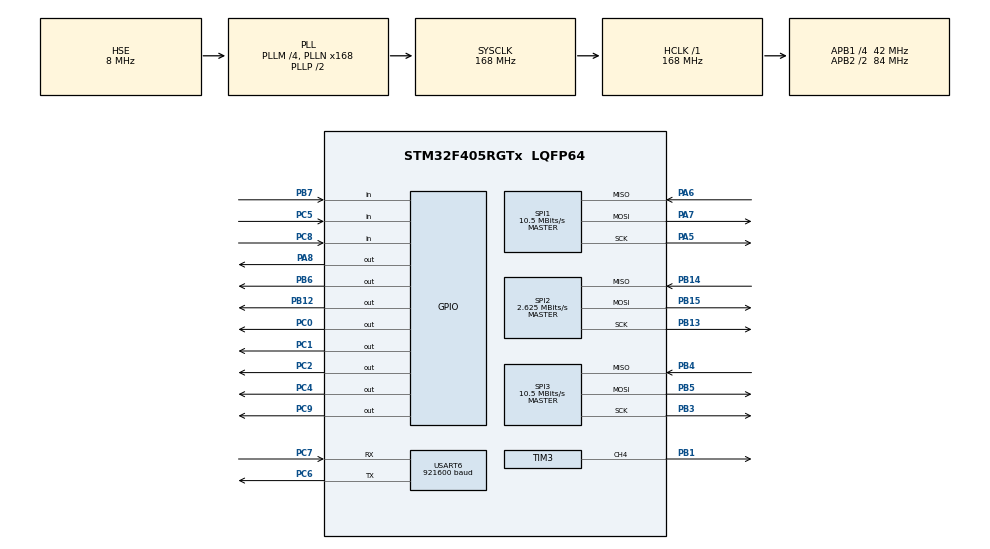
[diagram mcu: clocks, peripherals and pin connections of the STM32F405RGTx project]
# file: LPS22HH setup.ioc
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Mcu.Family=STM32F4
Mcu.Name=STM32F405RGTx
Mcu.Package=LQFP64
NVIC.PriorityGroup=NVIC_PRIORITYGROUP_4
NVIC.USART6_IRQn=true\:0\:0\:false\:false\:true\:true\:true\:true
PA5.Mode=Full_Duplex_Master
PA5.Signal=SPI1_SCK
PA6.Mode=Full_Duplex_Master
PA6.Signal=SPI1_MISO
PA7.Mode=Full_Duplex_Master
PA7.Signal=SPI1_MOSI
PA8.Signal=GPIO_Output
PB1.Signal=S_TIM3_CH4
PB12.Signal=GPIO_Output
PB13.Mode=Full_Duplex_Master
PB13.Signal=SPI2_SCK
PB14.Mode=Full_Duplex_Master
PB14.Signal=SPI2_MISO
PB15.Mode=Full_Duplex_Master
PB15.Signal=SPI2_MOSI
PB3.Mode=Full_Duplex_Master
PB3.Signal=SPI3_SCK
PB4.Mode=Full_Duplex_Master
PB4.Signal=SPI3_MISO
PB5.Mode=Full_Duplex_Master
PB5.Signal=SPI3_MOSI
PB6.Signal=GPIO_Output
PB7.Signal=GPIO_Input
PC0.Signal=GPIO_Output
PC1.Signal=GPIO_Output
PC2.Signal=GPIO_Output
PC4.Signal=GPIO_Output
PC5.Signal=GPIO_Input
PC6.Mode=Asynchronous
PC6.Signal=USART6_TX
PC7.Mode=Asynchronous
PC7.Signal=USART6_RX
PC8.Signal=GPIO_Input
PC9.Signal=GPIO_Output
PH0-OSC_IN.Mode=HSE-External-Oscillator
PH0-OSC_IN.Signal=RCC_OSC_IN
PH1-OSC_OUT.Mode=HSE-External-Oscillator
PH1-OSC_OUT.Signal=RCC_OSC_OUT
ProjectManager.HeapSize=0x200
ProjectManager.StackSize=0x400
ProjectManager.TargetToolchain=STM32CubeIDE
RCC.48MHZClocksFreq_Value=84000000
RCC.AHBFreq_Value=168000000
RCC.APB1CLKDivider=RCC_HCLK_DIV4
RCC.APB1Freq_Value=42000000
RCC.APB1TimFreq_Value=84000000
RCC.APB2CLKDivider=RCC_HCLK_DIV2
RCC.APB2Freq_Value=84000000
RCC.APB2TimFreq_Value=168000000
RCC.CortexFreq_Value=168000000
RCC.HCLKFreq_Value=168000000
RCC.HSE_VALUE=8000000
RCC.HSI_VALUE=16000000
RCC.LSE_VALUE=32768
RCC.PLLM=4
RCC.PLLN=168
RCC.PLLSourceVirtual=RCC_PLLSOURCE_HSE
RCC.SYSCLKFreq_VALUE=168000000
RCC.SYSCLKSource=RCC_SYSCLKSOURCE_PLLCLK
RCC.VCOOutputFreq_Value=336000000
SH.S_TIM3_CH4.0=TIM3_CH4,PWM Generation4 CH4
SPI1.BaudRatePrescaler=SPI_BAUDRATEPRESCALER_8
SPI1.CLKPhase=SPI_PHASE_2EDGE
SPI1.CLKPolarity=SPI_POLARITY_HIGH
SPI1.CalculateBaudRate=10.5 MBits/s
SPI1.DataSize=SPI_DATASIZE_8BIT
SPI1.Direction=SPI_DIRECTION_2LINES
SPI1.Mode=SPI_MODE_MASTER
SPI1.VirtualType=VM_MASTER
SPI2.BaudRatePrescaler=SPI_BAUDRATEPRESCALER_16
SPI2.CLKPhase=SPI_PHASE_2EDGE
SPI2.CLKPolarity=SPI_POLARITY_HIGH
SPI2.CalculateBaudRate=2.625 MBits/s
SPI2.Direction=SPI_DIRECTION_2LINES
SPI2.Mode=SPI_MODE_MASTER
SPI2.VirtualType=VM_MASTER
SPI3.BaudRatePrescaler=SPI_BAUDRATEPRESCALER_4
SPI3.CLKPhase=SPI_PHASE_2EDGE
SPI3.CLKPolarity=SPI_POLARITY_HIGH
SPI3.CalculateBaudRate=10.5 MBits/s
SPI3.Direction=SPI_DIRECTION_2LINES
SPI3.Mode=SPI_MODE_MASTER
SPI3.VirtualType=VM_MASTER
TIM3.AutoReloadPreload=TIM_AUTORELOAD_PRELOAD_ENABLE
TIM3.Channel-PWM\ Generation4\ CH4=TIM_CHANNEL_4
TIM3.OCFastMode_PWM-PWM\ Generation4\ CH4=TIM_OCFAST_ENABLE
TIM3.Period=20
TIM3.Prescaler=999
TIM3.Pulse-PWM\ Generation4\ CH4=10
USART6.BaudRate=921600
USART6.VirtualMode=VM_ASYNC
VP_TIM3_VS_ClockSourceINT.Mode=Internal
board=custom

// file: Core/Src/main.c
/* USER CODE BEGIN Header */
/**
  ******************************************************************************
  * @file           : main.c
  * @brief          : Main program body
  ******************************************************************************
  * @attention
  *
  * Copyright (c) 2025 STMicroelectronics.
  * All rights reserved.
  *
  * This software is licensed under terms that can be found in the LICENSE file
  * in the root directory of this software component.
  * If no LICENSE file comes with this software, it is provided AS-IS.
  *
  ******************************************************************************
  */
/* USER CODE END Header */
#include "main.h"

/* USER CODE BEGIN Includes */
#include "bno080.h"
#include "quaternion.h"
#include "icm20602.h"
#include "LPS22HH.h"
#include <stdio.h>
/* USER CODE END Includes */

/* USER CODE BEGIN PTD */
int _write(int file, char *p, int len)
{
	for (int i = 0; i < len; i ++)
	{
		LL_USART_TransmitData8(USART6, *(p + i));
		HAL_Delay(1);
	}
	return len;
}
/* USER CODE END PTD */

void SystemClock_Config(void);
static void MX_GPIO_Init(void);
static void MX_TIM3_Init(void);
static void MX_USART6_UART_Init(void);
static void MX_SPI2_Init(void);
static void MX_SPI1_Init(void);
static void MX_SPI3_Init(void);

int main(void)
{

  /* USER CODE BEGIN 1 */
  float q[4]; // array to store components of quaternion (x, y, z, w)
  float quatRadianAccuracy;
  /* USER CODE END 1 */

  /* MCU Configuration--------------------------------------------------------*/

  /* Reset of all peripherals, Initializes the Flash interface and the Systick. */
  HAL_Init();

  /* Configure the system clock */
  SystemClock_Config();

  /* Initialize all configured peripherals */
  MX_GPIO_Init();
  MX_TIM3_Init();
  MX_USART6_UART_Init();
  MX_SPI2_Init();
  MX_SPI1_Init();
  MX_SPI3_Init();
  /* USER CODE BEGIN 2 */
  LL_TIM_CC_EnableChannel(TIM3, LL_TIM_CHANNEL_CH4);
  LL_TIM_EnableCounter(TIM3);

  TIM3->PSC = 2000;
  HAL_Delay(100);
  TIM3->PSC = 1500;
  HAL_Delay(100);
  TIM3->PSC = 1000;
  HAL_Delay(100);

  LL_TIM_CC_DisableChannel(TIM3, LL_TIM_CHANNEL_CH4);

  LL_USART_EnableIT_RXNE(USART6);

  // initialize 9-axis sensor for rotation vector
  BNO080_Initialization();
  BNO080_enableRotationVector(2500);

  // initialize 6-axis sensor for angular velocity
  ICM20602_Initialization();

  // initialize barometric sensor for altitude
  LPS22HH_Initialization();
  /* USER CODE END 2 */

  /* Infinite loop */
  while (1)
  {

    /* USER CODE BEGIN 3 */
	/*
	if (BNO080_dataAvailable())
	{
		q[0] = BNO080_getQuatI();
		q[1] = BNO080_getQuatJ();
		q[2] = BNO080_getQuatK();
		q[3] = BNO080_getQuatReal();
		quatRadianAccuracy = BNO080_getQuatRealAccuracy();

		Quaternion_Update(&q[0]);

		printf("R: %d, P: %d, Y: %d\n", (int) (BNO080_Roll * 100), (int) (BNO080_Pitch * 100), (int) (BNO080_Yaw * 100));
	}

	if (ICM20602_DataReady())
	{
		ICM20602_Get3AxisGyroRawData(&ICM20602->gyro_x_raw);

		ICM20602->gyro_x = ICM20602->gyro_x_raw * 2000.f / 32768.f;
		ICM20602->gyro_y = ICM20602->gyro_y_raw * 2000.f / 32768.f;
		ICM20602->gyro_z = ICM20602->gyro_z_raw * 2000.f / 32768.f;

		printf("%d %d %d\n", ICM20602->gyro_x_raw, ICM20602->gyro_y_raw, ICM20602->gyro_z_raw);
		printf("%d %d %d\n", (int)(ICM20602->gyro_x*100), (int)(ICM20602->gyro_y*100), (int)(ICM20602->gyro_z*100));
	}
	*/
	if (LPS22HH_DataReady())
	{
		LPS22HH_GetPressure(&LPS22HH.pressure_raw);
		LPS22HH_GetTemperature(&LPS22HH.temperature_raw);

		LPS22HH.baroAlt = getAltitude2(LPS22HH.pressure_raw/4096.f, LPS22HH.temperature_raw/100.f); // altitude in cms

		printf("barometric pressure: %d\n", (int) (LPS22HH.baroAlt*100));
	}
  }
  /* USER CODE END 3 */
}

void SystemClock_Config(void)
{
  RCC_OscInitTypeDef RCC_OscInitStruct = {0};
  RCC_ClkInitTypeDef RCC_ClkInitStruct = {0};

  /** Configure the main internal regulator output voltage
  */
  __HAL_RCC_PWR_CLK_ENABLE();
  __HAL_PWR_VOLTAGESCALING_CONFIG(PWR_REGULATOR_VOLTAGE_SCALE1);

  /** Initializes the RCC Oscillators according to the specified parameters
  * in the RCC_OscInitTypeDef structure.
  */
  RCC_OscInitStruct.OscillatorType = RCC_OSCILLATORTYPE_HSE;
  RCC_OscInitStruct.HSEState = RCC_HSE_ON;
  RCC_OscInitStruct.PLL.PLLState = RCC_PLL_ON;
  RCC_OscInitStruct.PLL.PLLSource = RCC_PLLSOURCE_HSE;
  RCC_OscInitStruct.PLL.PLLM = 4;
  RCC_OscInitStruct.PLL.PLLN = 168;
  RCC_OscInitStruct.PLL.PLLP = RCC_PLLP_DIV2;
  RCC_OscInitStruct.PLL.PLLQ = 4;
  if (HAL_RCC_OscConfig(&RCC_OscInitStruct) != HAL_OK)
  {
    Error_Handler();
  }

  /** Initializes the CPU, AHB and APB buses clocks
  */
  RCC_ClkInitStruct.ClockType = RCC_CLOCKTYPE_HCLK|RCC_CLOCKTYPE_SYSCLK
                              |RCC_CLOCKTYPE_PCLK1|RCC_CLOCKTYPE_PCLK2;
  RCC_ClkInitStruct.SYSCLKSource = RCC_SYSCLKSOURCE_PLLCLK;
  RCC_ClkInitStruct.AHBCLKDivider = RCC_SYSCLK_DIV1;
  RCC_ClkInitStruct.APB1CLKDivider = RCC_HCLK_DIV4;
  RCC_ClkInitStruct.APB2CLKDivider = RCC_HCLK_DIV2;

  if (HAL_RCC_ClockConfig(&RCC_ClkInitStruct, FLASH_LATENCY_5) != HAL_OK)
  {
    Error_Handler();
  }
}

static void MX_SPI1_Init(void)
{

  LL_SPI_InitTypeDef SPI_InitStruct = {0};

  LL_GPIO_InitTypeDef GPIO_InitStruct = {0};

  /* Peripheral clock enable */
  LL_APB2_GRP1_EnableClock(LL_APB2_GRP1_PERIPH_SPI1);

  LL_AHB1_GRP1_EnableClock(LL_AHB1_GRP1_PERIPH_GPIOA);
  /**SPI1 GPIO Configuration
  PA5   ------> SPI1_SCK
  PA6   ------> SPI1_MISO
  PA7   ------> SPI1_MOSI
  */
  GPIO_InitStruct.Pin = LL_GPIO_PIN_5|LL_GPIO_PIN_6|LL_GPIO_PIN_7;
  GPIO_InitStruct.Mode = LL_GPIO_MODE_ALTERNATE;
  GPIO_InitStruct.Speed = LL_GPIO_SPEED_FREQ_VERY_HIGH;
  GPIO_InitStruct.OutputType = LL_GPIO_OUTPUT_PUSHPULL;
  GPIO_InitStruct.Pull = LL_GPIO_PULL_NO;
  GPIO_InitStruct.Alternate = LL_GPIO_AF_5;
  LL_GPIO_Init(GPIOA, &GPIO_InitStruct);

  /* SPI1 parameter configuration*/
  SPI_InitStruct.TransferDirection = LL_SPI_FULL_DUPLEX;
  SPI_InitStruct.Mode = LL_SPI_MODE_MASTER;
  SPI_InitStruct.DataWidth = LL_SPI_DATAWIDTH_8BIT;
  SPI_InitStruct.ClockPolarity = LL_SPI_POLARITY_HIGH;
  SPI_InitStruct.ClockPhase = LL_SPI_PHASE_2EDGE;
  SPI_InitStruct.NSS = LL_SPI_NSS_SOFT;
  SPI_InitStruct.BaudRate = LL_SPI_BAUDRATEPRESCALER_DIV8;
  SPI_InitStruct.BitOrder = LL_SPI_MSB_FIRST;
  SPI_InitStruct.CRCCalculation = LL_SPI_CRCCALCULATION_DISABLE;
  SPI_InitStruct.CRCPoly = 10;
  LL_SPI_Init(SPI1, &SPI_InitStruct);
  LL_SPI_SetStandard(SPI1, LL_SPI_PROTOCOL_MOTOROLA);

}

static void MX_SPI2_Init(void)
{

  LL_SPI_InitTypeDef SPI_InitStruct = {0};

  LL_GPIO_InitTypeDef GPIO_InitStruct = {0};

  /* Peripheral clock enable */
  LL_APB1_GRP1_EnableClock(LL_APB1_GRP1_PERIPH_SPI2);

  LL_AHB1_GRP1_EnableClock(LL_AHB1_GRP1_PERIPH_GPIOB);
  /**SPI2 GPIO Configuration
  PB13   ------> SPI2_SCK
  PB14   ------> SPI2_MISO
  PB15   ------> SPI2_MOSI
  */
  GPIO_InitStruct.Pin = LL_GPIO_PIN_13|LL_GPIO_PIN_14|LL_GPIO_PIN_15;
  GPIO_InitStruct.Mode = LL_GPIO_MODE_ALTERNATE;
  GPIO_InitStruct.Speed = LL_GPIO_SPEED_FREQ_VERY_HIGH;
  GPIO_InitStruct.OutputType = LL_GPIO_OUTPUT_PUSHPULL;
  GPIO_InitStruct.Pull = LL_GPIO_PULL_NO;
  GPIO_InitStruct.Alternate = LL_GPIO_AF_5;
  LL_GPIO_Init(GPIOB, &GPIO_InitStruct);

  /* SPI2 parameter configuration*/
  SPI_InitStruct.TransferDirection = LL_SPI_FULL_DUPLEX;
  SPI_InitStruct.Mode = LL_SPI_MODE_MASTER;
  SPI_InitStruct.DataWidth = LL_SPI_DATAWIDTH_8BIT;
  SPI_InitStruct.ClockPolarity = LL_SPI_POLARITY_HIGH;
  SPI_InitStruct.ClockPhase = LL_SPI_PHASE_2EDGE;
  SPI_InitStruct.NSS = LL_SPI_NSS_SOFT;
  SPI_InitStruct.BaudRate = LL_SPI_BAUDRATEPRESCALER_DIV16;
  SPI_InitStruct.BitOrder = LL_SPI_MSB_FIRST;
  SPI_InitStruct.CRCCalculation = LL_SPI_CRCCALCULATION_DISABLE;
  SPI_InitStruct.CRCPoly = 10;
  LL_SPI_Init(SPI2, &SPI_InitStruct);
  LL_SPI_SetStandard(SPI2, LL_SPI_PROTOCOL_MOTOROLA);

}

static void MX_SPI3_Init(void)
{

  LL_SPI_InitTypeDef SPI_InitStruct = {0};

  LL_GPIO_InitTypeDef GPIO_InitStruct = {0};

  /* Peripheral clock enable */
  LL_APB1_GRP1_EnableClock(LL_APB1_GRP1_PERIPH_SPI3);

  LL_AHB1_GRP1_EnableClock(LL_AHB1_GRP1_PERIPH_GPIOB);
  /**SPI3 GPIO Configuration
  PB3   ------> SPI3_SCK
  PB4   ------> SPI3_MISO
  PB5   ------> SPI3_MOSI
  */
  GPIO_InitStruct.Pin = LL_GPIO_PIN_3|LL_GPIO_PIN_4|LL_GPIO_PIN_5;
  GPIO_InitStruct.Mode = LL_GPIO_MODE_ALTERNATE;
  GPIO_InitStruct.Speed = LL_GPIO_SPEED_FREQ_VERY_HIGH;
  GPIO_InitStruct.OutputType = LL_GPIO_OUTPUT_PUSHPULL;
  GPIO_InitStruct.Pull = LL_GPIO_PULL_NO;
  GPIO_InitStruct.Alternate = LL_GPIO_AF_6;
  LL_GPIO_Init(GPIOB, &GPIO_InitStruct);

  /* SPI3 parameter configuration*/
  SPI_InitStruct.TransferDirection = LL_SPI_FULL_DUPLEX;
  SPI_InitStruct.Mode = LL_SPI_MODE_MASTER;
  SPI_InitStruct.DataWidth = LL_SPI_DATAWIDTH_8BIT;
  SPI_InitStruct.ClockPolarity = LL_SPI_POLARITY_HIGH;
  SPI_InitStruct.ClockPhase = LL_SPI_PHASE_2EDGE;
  SPI_InitStruct.NSS = LL_SPI_NSS_SOFT;
  SPI_InitStruct.BaudRate = LL_SPI_BAUDRATEPRESCALER_DIV4;
  SPI_InitStruct.BitOrder = LL_SPI_MSB_FIRST;
  SPI_InitStruct.CRCCalculation = LL_SPI_CRCCALCULATION_DISABLE;
  SPI_InitStruct.CRCPoly = 10;
  LL_SPI_Init(SPI3, &SPI_InitStruct);
  LL_SPI_SetStandard(SPI3, LL_SPI_PROTOCOL_MOTOROLA);

}

static void MX_TIM3_Init(void)
{

  LL_TIM_InitTypeDef TIM_InitStruct = {0};
  LL_TIM_OC_InitTypeDef TIM_OC_InitStruct = {0};

  LL_GPIO_InitTypeDef GPIO_InitStruct = {0};

  /* Peripheral clock enable */
  LL_APB1_GRP1_EnableClock(LL_APB1_GRP1_PERIPH_TIM3);

  TIM_InitStruct.Prescaler = 999;
  TIM_InitStruct.CounterMode = LL_TIM_COUNTERMODE_UP;
  TIM_InitStruct.Autoreload = 20;
  TIM_InitStruct.ClockDivision = LL_TIM_CLOCKDIVISION_DIV1;
  LL_TIM_Init(TIM3, &TIM_InitStruct);
  LL_TIM_EnableARRPreload(TIM3);
  LL_TIM_SetClockSource(TIM3, LL_TIM_CLOCKSOURCE_INTERNAL);
  LL_TIM_OC_EnablePreload(TIM3, LL_TIM_CHANNEL_CH4);
  TIM_OC_InitStruct.OCMode = LL_TIM_OCMODE_PWM1;
  TIM_OC_InitStruct.OCState = LL_TIM_OCSTATE_DISABLE;
  TIM_OC_InitStruct.OCNState = LL_TIM_OCSTATE_DISABLE;
  TIM_OC_InitStruct.CompareValue = 10;
  TIM_OC_InitStruct.OCPolarity = LL_TIM_OCPOLARITY_HIGH;
  LL_TIM_OC_Init(TIM3, LL_TIM_CHANNEL_CH4, &TIM_OC_InitStruct);
  LL_TIM_OC_EnableFast(TIM3, LL_TIM_CHANNEL_CH4);
  LL_TIM_SetTriggerOutput(TIM3, LL_TIM_TRGO_RESET);
  LL_TIM_DisableMasterSlaveMode(TIM3);
  LL_AHB1_GRP1_EnableClock(LL_AHB1_GRP1_PERIPH_GPIOB);
  /**TIM3 GPIO Configuration
  PB1   ------> TIM3_CH4
  */
  GPIO_InitStruct.Pin = LL_GPIO_PIN_1;
  GPIO_InitStruct.Mode = LL_GPIO_MODE_ALTERNATE;
  GPIO_InitStruct.Speed = LL_GPIO_SPEED_FREQ_LOW;
  GPIO_InitStruct.OutputType = LL_GPIO_OUTPUT_PUSHPULL;
  GPIO_InitStruct.Pull = LL_GPIO_PULL_NO;
  GPIO_InitStruct.Alternate = LL_GPIO_AF_2;
  LL_GPIO_Init(GPIOB, &GPIO_InitStruct);

}

static void MX_USART6_UART_Init(void)
{

  LL_USART_InitTypeDef USART_InitStruct = {0};

  LL_GPIO_InitTypeDef GPIO_InitStruct = {0};

  /* Peripheral clock enable */
  LL_APB2_GRP1_EnableClock(LL_APB2_GRP1_PERIPH_USART6);

  LL_AHB1_GRP1_EnableClock(LL_AHB1_GRP1_PERIPH_GPIOC);
  /**USART6 GPIO Configuration
  PC6   ------> USART6_TX
  PC7   ------> USART6_RX
  */
  GPIO_InitStruct.Pin = LL_GPIO_PIN_6|LL_GPIO_PIN_7;
  GPIO_InitStruct.Mode = LL_GPIO_MODE_ALTERNATE;
  GPIO_InitStruct.Speed = LL_GPIO_SPEED_FREQ_VERY_HIGH;
  GPIO_InitStruct.OutputType = LL_GPIO_OUTPUT_PUSHPULL;
  GPIO_InitStruct.Pull = LL_GPIO_PULL_NO;
  GPIO_InitStruct.Alternate = LL_GPIO_AF_8;
  LL_GPIO_Init(GPIOC, &GPIO_InitStruct);

  /* USART6 interrupt Init */
  NVIC_SetPriority(USART6_IRQn, NVIC_EncodePriority(NVIC_GetPriorityGrouping(),0, 0));
  NVIC_EnableIRQ(USART6_IRQn);

  USART_InitStruct.BaudRate = 115200;
  USART_InitStruct.DataWidth = LL_USART_DATAWIDTH_8B;
  USART_InitStruct.StopBits = LL_USART_STOPBITS_1;
  USART_InitStruct.Parity = LL_USART_PARITY_NONE;
  USART_InitStruct.TransferDirection = LL_USART_DIRECTION_TX_RX;
  USART_InitStruct.HardwareFlowControl = LL_USART_HWCONTROL_NONE;
  USART_InitStruct.OverSampling = LL_USART_OVERSAMPLING_16;
  LL_USART_Init(USART6, &USART_InitStruct);
  LL_USART_ConfigAsyncMode(USART6);
  LL_USART_Enable(USART6);

}

static void MX_GPIO_Init(void)
{
  LL_GPIO_InitTypeDef GPIO_InitStruct = {0};

  /* GPIO Ports Clock Enable */
  LL_AHB1_GRP1_EnableClock(LL_AHB1_GRP1_PERIPH_GPIOH);
  LL_AHB1_GRP1_EnableClock(LL_AHB1_GRP1_PERIPH_GPIOC);
  LL_AHB1_GRP1_EnableClock(LL_AHB1_GRP1_PERIPH_GPIOA);
  LL_AHB1_GRP1_EnableClock(LL_AHB1_GRP1_PERIPH_GPIOB);

  /**/
  LL_GPIO_ResetOutputPin(GPIOC, LL_GPIO_PIN_0|LL_GPIO_PIN_1|LL_GPIO_PIN_2|LL_GPIO_PIN_4
                          |LL_GPIO_PIN_9);

  /**/
  LL_GPIO_ResetOutputPin(GPIOB, LL_GPIO_PIN_12|LL_GPIO_PIN_6);

  /**/
  LL_GPIO_ResetOutputPin(GPIOA, LL_GPIO_PIN_8);

  /**/
  GPIO_InitStruct.Pin = LL_GPIO_PIN_0|LL_GPIO_PIN_1|LL_GPIO_PIN_2|LL_GPIO_PIN_4
                          |LL_GPIO_PIN_9;
  GPIO_InitStruct.Mode = LL_GPIO_MODE_OUTPUT;
  GPIO_InitStruct.Speed = LL_GPIO_SPEED_FREQ_LOW;
  GPIO_InitStruct.OutputType = LL_GPIO_OUTPUT_PUSHPULL;
  GPIO_InitStruct.Pull = LL_GPIO_PULL_NO;
  LL_GPIO_Init(GPIOC, &GPIO_InitStruct);

  /**/
  GPIO_InitStruct.Pin = LL_GPIO_PIN_5|LL_GPIO_PIN_8;
  GPIO_InitStruct.Mode = LL_GPIO_MODE_INPUT;
  GPIO_InitStruct.Pull = LL_GPIO_PULL_NO;
  LL_GPIO_Init(GPIOC, &GPIO_InitStruct);

  /**/
  GPIO_InitStruct.Pin = LL_GPIO_PIN_12|LL_GPIO_PIN_6;
  GPIO_InitStruct.Mode = LL_GPIO_MODE_OUTPUT;
  GPIO_InitStruct.Speed = LL_GPIO_SPEED_FREQ_LOW;
  GPIO_InitStruct.OutputType = LL_GPIO_OUTPUT_PUSHPULL;
  GPIO_InitStruct.Pull = LL_GPIO_PULL_NO;
  LL_GPIO_Init(GPIOB, &GPIO_InitStruct);

  /**/
  GPIO_InitStruct.Pin = LL_GPIO_PIN_8;
  GPIO_InitStruct.Mode = LL_GPIO_MODE_OUTPUT;
  GPIO_InitStruct.Speed = LL_GPIO_SPEED_FREQ_LOW;
  GPIO_InitStruct.OutputType = LL_GPIO_OUTPUT_PUSHPULL;
  GPIO_InitStruct.Pull = LL_GPIO_PULL_NO;
  LL_GPIO_Init(GPIOA, &GPIO_InitStruct);

  /**/
  GPIO_InitStruct.Pin = LL_GPIO_PIN_7;
  GPIO_InitStruct.Mode = LL_GPIO_MODE_INPUT;
  GPIO_InitStruct.Pull = LL_GPIO_PULL_NO;
  LL_GPIO_Init(GPIOB, &GPIO_InitStruct);

}

void Error_Handler(void)
{
  __disable_irq();
  while (1)
  {
  }
}
